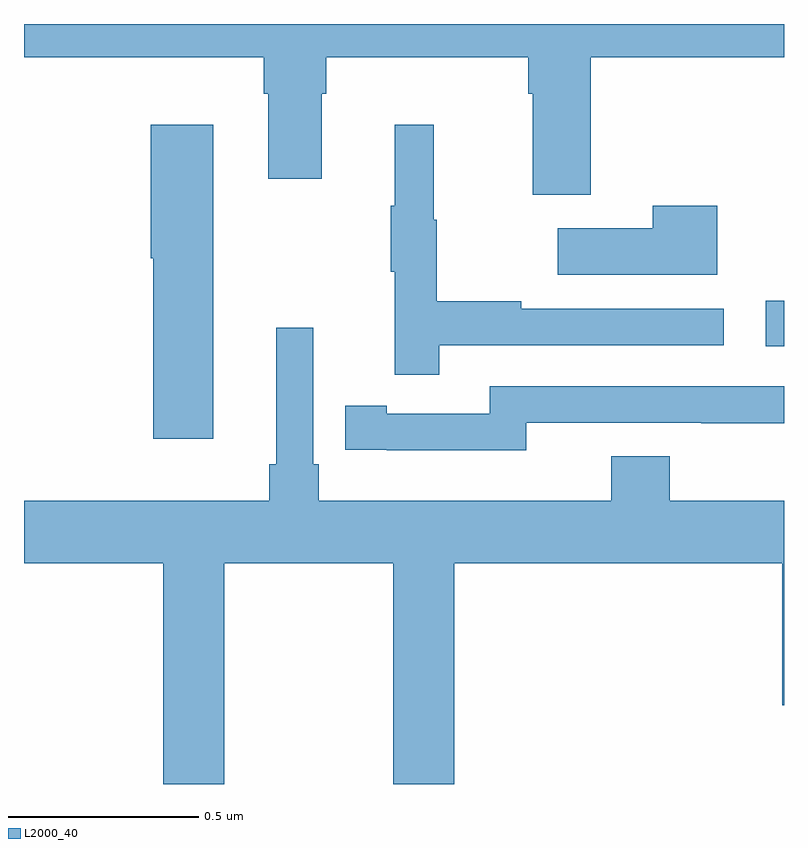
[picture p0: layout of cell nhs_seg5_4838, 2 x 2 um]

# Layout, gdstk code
import gdstk
lib = gdstk.Library(unit=1e-6, precision=1e-09)
def R(c, l, rs):  # rectangles x0, y0, x1, y1
    for r in rs: c.add(gdstk.rectangle(r[:2], r[2:], *l))
def P(c, l, *ps):  # polygons
    for p in ps: c.add(gdstk.Polygon(p, *l))
L2000_40 = (2000, 40)

nhs_seg5_4838 = lib.new_cell('nhs_seg5_4838')
R(nhs_seg5_4838, L2000_40, [(176.952,903.951,177,904.071)])
P(nhs_seg5_4838, L2000_40, [(176.492,904.712),(177,904.712),(177,904.799),(175,904.799),(175,904.712),(175.631,904.712),(175.631,904.616),(175.643,904.616),(175.643,904.392),(175.783,904.392),(175.783,904.616),(175.796,904.616),(175.796,904.712),(176.327,904.712),(176.327,904.616),(176.339,904.616),(176.339,904.35),(176.492,904.35)],
  [(176.093,903.954),(176.842,903.954),(176.842,904.05),(176.309,904.05),(176.309,904.07),(176.086,904.07),(176.086,904.284),(176.078,904.284),(176.078,904.534),(175.976,904.534),(175.976,904.321),(175.965,904.321),(175.965,904.147),(175.976,904.147),(175.976,903.876),(176.093,903.876)],
  [(175.498,904.534),(175.334,904.534),(175.334,904.182),(175.34,904.182),(175.34,903.708),(175.498,903.708)],
  [(176.824,904.321),(176.654,904.321),(176.654,904.261),(176.405,904.261),(176.405,904.139),(176.824,904.139)],
  [(176.996,903.006),(177,903.006),(177,903.544),(176.699,903.544),(176.699,903.661),(176.546,903.661),(176.546,903.544),(175.775,903.544),(175.775,903.64),(175.761,903.64),(175.761,904),(175.664,904),(175.664,903.64),(175.645,903.64),(175.645,903.544),(175,903.544),(175,903.38),(175.367,903.38),(175.367,902.799),(175.527,902.799),(175.527,903.38),(175.972,903.38),(175.972,902.799),(176.132,902.799),(176.132,903.38),(176.996,903.38)],
  [(176.322,903.75),(176.782,903.75),(176.782,903.749),(177,903.749),(177,903.846),(176.226,903.846),(176.226,903.774),(175.954,903.774),(175.954,903.794),(175.846,903.794),(175.846,903.678),(175.954,903.678),(175.954,903.677),(176.322,903.677)])

lib.write_gds('nhs_seg5_4838.gds')
